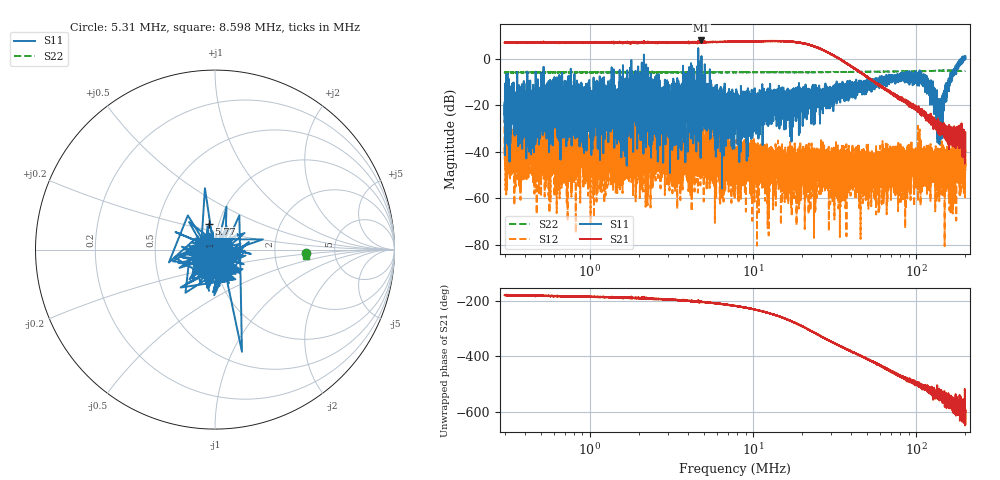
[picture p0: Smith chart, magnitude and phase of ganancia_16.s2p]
# Hz S DB R 50
! CMT, M5065, 19127446, 24.2.4/2
! Date: 11/1/2024 4:24:19 PM
! Data: Format (Calibration Info)
! Freq	S11:dB/Ang(F2)	S21:dB/Ang(F2)	S12:dB/Ang(F2)	S22:dB/Ang(F2)
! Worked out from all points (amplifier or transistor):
!   9000 points, 300 kHz to 200 MHz, reference 50 ohm
!   highest |S21| = 7.8 dB at 4.827 MHz (marker M1)
!   |S21| within 3 dB of that: start of sweep to 24.41 MHz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
!   unconditionally stable (mu >= 1): start of sweep to 2.142 MHz; 2.144 MHz to 4.61 MHz; 4.83 MHz to 189.5 MHz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
!   at 886.8 kHz: K = 18.17, MAG = 8.2 dB, |S12| = -40.8 dB
!   at 7.749 MHz: K = 26.57, MAG = 8.5 dB, |S12| = -44.3 dB
!   at 200 MHz: K = -449.74, MSG = 5.4 dB, |S12| = -42.6 dB
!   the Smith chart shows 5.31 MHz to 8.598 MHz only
!   S11 on the Smith chart (normalised r, x): 5.31 MHz: 0.95, -0.20; 5.77 MHz: 0.90, +0.26; 8.598 MHz: 1.15, -0.00
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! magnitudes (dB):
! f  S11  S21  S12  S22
! 300 kHz  -20.1  6.9  -41.0  -5.9
! 886.8 kHz  -21.2  6.9  -40.8  -5.9
! 1.212 MHz  -24.9  6.9  -34.5  -5.9
! 1.341 MHz  -31.4  6.8  -40.2  -5.9
! 1.453 MHz  -23.3  6.9  -39.0  -5.9
! 2.055 MHz  -17.7  6.9  -36.3  -5.9
! 2.621 MHz  -16.0  6.9  -31.7  -5.8
! 4.827 MHz  1.1  7.8  -51.1  -5.9
! 5.31 MHz  -19.4  7.2  -46.3  -5.9
! 5.77 MHz  -16.6  7.1  -42.3  -5.9
! 7.069 MHz  -20.0  7.3  -54.3  -5.8
! 7.749 MHz  -25.8  7.2  -44.3  -5.9
! 8.598 MHz  -23.2  7.3  -43.9  -5.9
! 12.91 MHz  -17.9  7.5  -51.3  -5.8
! 14.69 MHz  -18.4  7.5  -52.9  -5.8
! 22.91 MHz  -12.8  5.7  -47.7  -5.8
! 67.71 MHz  -8.7  -13.8  -52.4  -5.6
! 112.3 MHz  -10.1  -23.3  -41.8  -5.4
! 126.7 MHz  -14.7  -26.8  -39.9  -5.3
! 139.6 MHz  -34.5  -28.7  -56.2  -5.2
! 165.3 MHz  -8.6  -33.9  -43.0  -5.2
! 200 MHz  1.0  -31.7  -42.6  -5.3
